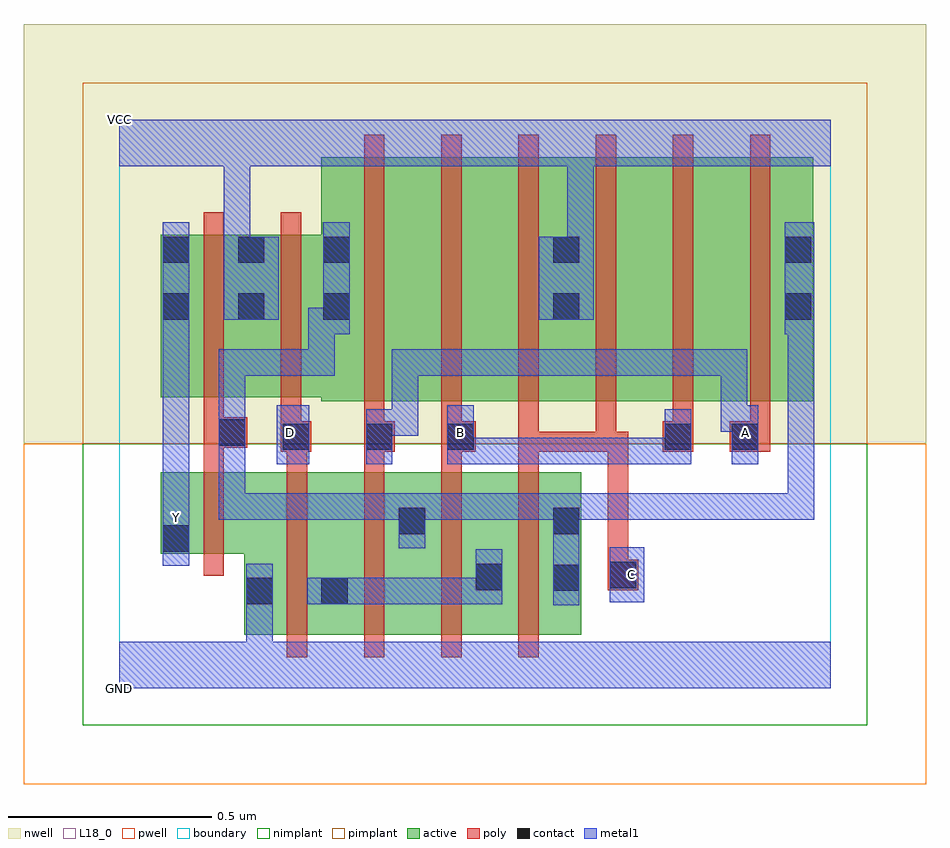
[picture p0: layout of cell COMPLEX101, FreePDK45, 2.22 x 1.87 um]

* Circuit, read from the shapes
.subckt COMPLEX101 A B C D GND VCC Y
M1 GND n1 Y VSUBS nfet w=0.2u l=0.05u
M2 n2 D GND VSUBS nfet w=0.4u l=0.05u
M3 n1 A n2 VSUBS nfet w=0.4u l=0.05u
M4 n2 B n1 VSUBS nfet w=0.4u l=0.05u
M5 n1 C n2 VSUBS nfet w=0.4u l=0.05u
M6 VCC n1 Y n3 pfet w=0.4u l=0.05u
M7 n1 D VCC n3 pfet w=0.4u l=0.05u
M8 n4 A n1 n3 pfet w=0.6u l=0.05u
M9 n5 B n4 n3 pfet w=0.6u l=0.05u
M10 VCC C n5 n3 pfet w=0.6u l=0.05u
M11 n6 C VCC n3 pfet w=0.6u l=0.05u
M12 n7 B n6 n3 pfet w=0.6u l=0.05u
M13 n1 A n7 n3 pfet w=0.6u l=0.05u
.ends

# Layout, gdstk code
import gdstk
lib = gdstk.Library(unit=1e-6, precision=1e-09)
def R(c, l, rs):  # rectangles x0, y0, x1, y1
    for r in rs: c.add(gdstk.rectangle(r[:2], r[2:], *l))
def A(c, l, x, y, w, h, nx, ny, dx, dy):  # array of equal rectangles
    R(c, l, [(x+i*dx, y+j*dy, x+i*dx+w, y+j*dy+h) for i in range(nx) for j in range(ny)])
active = (1, 0)
pwell = (2, 0)
nwell = (3, 0)
nimplant = (4, 0)
pimplant = (5, 0)
poly = (9, 0)
contact = (10, 0)
metal1 = (11, 0)
L18_0 = (18, 0)
boundary = (235, 0)

complex101 = lib.new_cell('COMPLEX101')
A(complex101, active, 0.492, 0.132, 0.265, 0.4, 3, 1, 0.19, 0)
A(complex101, active, 0.492, 0.147, 0.075, 0.345, 3, 1, 0.19, 0)
R(complex101, active, [(0.307,0.132,0.567,0.532), (0.307,0.132,0.382,0.332), (1.062,0.147,1.137,0.532), (0.102,0.332,0.177,0.532), (0.102,0.332,0.382,0.532), (0.497,0.707,0.722,1.307), (0.722,0.707,0.912,1.307), (0.912,0.707,1.137,1.307), (1.062,0.707,1.292,1.307), (1.062,0.707,1.137,1.257), (1.292,0.707,1.482,1.307), (1.482,0.707,1.707,1.307), (1.632,0.707,1.707,1.2), (0.102,0.717,0.362,1.117), (0.102,0.717,0.177,1.117), (0.287,0.717,0.572,1.117), (0.497,0.717,0.572,1.2), (0.287,0.802,0.362,1.117)])
R(complex101, pwell, [(-0.235,-0.235,1.985,0.602)])
R(complex101, nwell, [(-0.235,0.602,1.985,1.635)])
R(complex101, nimplant, [(-0.09,-0.09,1.84,0.602)])
R(complex101, pimplant, [(-0.09,0.602,1.84,1.49)])
A(complex101, poly, 0.412, 0.077, 0.05, 0.51, 4, 1, 0.19, 0)
A(complex101, poly, 0.412, 0.537, 0.05, 0.095, 4, 1, 0.19, 0)
A(complex101, poly, 0.602, 0.652, 0.05, 0.71, 6, 1, 0.19, 0)
R(complex101, poly, [(1.202,0.242,1.277,0.317), (1.202,0.267,1.252,0.632), (0.207,0.277,0.257,0.587), (0.207,0.537,0.257,0.642), (0.397,0.582,0.472,0.657), (0.602,0.582,0.677,0.657), (0.792,0.582,0.877,0.657), (0.982,0.582,1.032,0.702), (0.982,0.582,1.032,0.632), (0.982,0.582,1.222,0.632), (1.172,0.582,1.222,0.702), (1.172,0.582,1.222,0.632), (1.172,0.582,1.222,0.632), (1.172,0.582,1.242,0.632), (1.192,0.582,1.242,0.632), (1.192,0.582,1.252,0.632), (1.337,0.582,1.412,0.657), (1.502,0.582,1.602,0.657), (0.207,0.592,0.315,0.667), (0.397,0.607,0.447,0.712), (0.602,0.607,0.652,0.702), (0.792,0.607,0.842,0.702), (1.362,0.607,1.412,0.702), (1.552,0.607,1.602,0.702), (0.207,0.617,0.257,0.712), (0.207,0.662,0.257,1.172), (0.397,0.662,0.447,1.172)])
R(complex101, contact, [(0.312,0.207,0.377,0.272), (0.497,0.207,0.562,0.272), (1.067,0.24,1.132,0.305), (0.877,0.242,0.942,0.307), (1.207,0.247,1.272,0.312), (0.107,0.337,0.172,0.402), (0.687,0.38,0.752,0.445), (1.067,0.38,1.132,0.445), (0.402,0.587,0.467,0.652), (0.607,0.587,0.672,0.652), (0.807,0.587,0.872,0.652), (1.342,0.587,1.407,0.652), (1.507,0.587,1.572,0.652), (0.245,0.597,0.31,0.662), (0.107,0.907,0.172,0.972), (0.292,0.907,0.357,0.972), (0.502,0.907,0.567,0.972), (1.067,0.907,1.132,0.972), (1.637,0.907,1.702,0.972), (0.107,1.047,0.172,1.112), (0.292,1.047,0.357,1.112), (0.502,1.047,0.567,1.112), (1.067,1.047,1.132,1.112), (1.637,1.047,1.702,1.112)])
R(complex101, metal1, [(0,0,1.75,0.115), (0.312,0.05,0.377,0.237), (0.312,0.172,0.377,0.307), (1.067,0.205,1.132,0.48), (0.462,0.207,0.597,0.272), (0.532,0.207,0.672,0.272), (0.607,0.207,0.672,0.272), (0.607,0.207,0.752,0.272), (0.687,0.207,0.752,0.272), (0.687,0.207,0.872,0.272), (0.807,0.207,0.872,0.272), (0.807,0.207,0.942,0.272), (0.877,0.207,0.942,0.342), (1.207,0.212,1.292,0.347), (0.107,0.302,0.172,0.437), (0.687,0.345,0.752,0.48), (0.107,0.352,0.172,0.487), (0.107,0.372,0.172,0.437), (0.245,0.415,0.31,0.48), (0.245,0.415,0.535,0.48), (0.245,0.415,0.31,0.697), (0.47,0.415,0.535,0.48), (0.47,0.415,0.535,0.48), (0.47,0.415,0.535,0.48), (0.47,0.415,0.735,0.48), (0.67,0.415,0.735,0.48), (0.67,0.415,0.752,0.48), (0.687,0.415,0.89,0.48), (0.825,0.415,0.89,0.48), (0.825,0.415,0.89,0.48), (0.825,0.415,0.89,0.48), (0.825,0.415,1.027,0.48), (0.962,0.415,1.027,0.48), (0.962,0.415,1.132,0.48), (1.067,0.415,1.165,0.48), (1.1,0.415,1.165,0.48), (1.1,0.415,1.407,0.48), (1.342,0.415,1.407,0.48), (1.342,0.415,1.407,0.48), (1.342,0.415,1.407,0.48), (1.342,0.415,1.545,0.48), (1.48,0.415,1.545,0.48), (1.48,0.415,1.71,0.48), (1.645,0.415,1.71,0.48), (1.645,0.415,1.71,0.48), (1.645,0.415,1.71,0.48), (1.645,0.415,1.71,0.937), (0.107,0.422,0.172,0.937), (0.387,0.552,0.467,0.697), (0.607,0.552,0.672,0.687), (0.807,0.552,0.872,0.697), (0.807,0.552,0.89,0.617), (0.825,0.552,0.89,0.617), (0.825,0.552,1.027,0.617), (0.962,0.552,1.027,0.617), (0.962,0.552,1.27,0.617), (1.205,0.552,1.27,0.617), (1.205,0.552,1.27,0.617), (1.205,0.552,1.27,0.617), (1.205,0.552,1.407,0.617), (1.342,0.552,1.407,0.617), (1.342,0.552,1.407,0.617), (1.342,0.552,1.407,0.687), (1.507,0.552,1.572,0.697), (0.245,0.562,0.31,0.697), (0.607,0.622,0.735,0.687), (0.67,0.622,0.735,0.687), (0.67,0.622,0.735,0.835), (0.245,0.632,0.31,0.697), (0.245,0.632,0.31,0.697), (0.245,0.632,0.31,0.835), (1.48,0.632,1.545,0.697), (1.48,0.632,1.572,0.697), (1.48,0.632,1.545,0.835), (0.245,0.77,0.31,0.835), (0.245,0.77,0.53,0.835), (0.465,0.77,0.53,0.937), (0.67,0.77,0.735,0.835), (0.67,0.77,0.89,0.835), (0.825,0.77,0.89,0.835), (0.825,0.77,0.89,0.835), (0.825,0.77,0.89,0.835), (0.825,0.77,1.027,0.835), (0.962,0.77,1.027,0.835), (0.962,0.77,1.27,0.835), (1.205,0.77,1.27,0.835), (1.205,0.77,1.27,0.835), (1.205,0.77,1.27,0.835), (1.205,0.77,1.407,0.835), (1.342,0.77,1.407,0.835), (1.342,0.77,1.407,0.835), (1.342,0.77,1.407,0.835), (1.342,0.77,1.545,0.835), (1.48,0.77,1.545,0.835), (0.107,0.872,0.172,1.147), (0.465,0.872,0.567,0.937), (0.502,0.872,0.567,1.147), (1.637,0.872,1.71,1.147), (1.645,0.872,1.71,0.937), (1.645,0.872,1.71,0.937), (0.257,0.907,0.392,1.112), (1.032,0.907,1.167,1.112), (0.257,1.047,0.322,1.35), (1.102,1.047,1.167,1.35), (0,1.285,1.75,1.4), (0.257,1.285,0.322,1.35), (0.257,1.285,0.322,1.35)])
R(complex101, L18_0, [(0,0,1.75,0.115), (0.312,0.05,0.377,0.237), (0.312,0.172,0.377,0.307), (1.207,0.212,1.292,0.347), (1.227,0.247,1.292,0.312), (0.107,0.302,0.172,0.437), (0.107,0.352,0.172,0.487), (0.107,0.372,0.172,0.437), (0.107,0.387,0.172,0.452), (0.107,0.422,0.172,0.937), (0.387,0.552,0.467,0.697), (0.607,0.552,0.672,0.687), (0.807,0.552,0.872,0.697), (0.807,0.552,0.89,0.617), (0.825,0.552,0.89,0.617), (0.825,0.552,1.027,0.617), (0.962,0.552,1.027,0.617), (0.962,0.552,1.27,0.617), (1.205,0.552,1.27,0.617), (1.205,0.552,1.27,0.617), (1.205,0.552,1.27,0.617), (1.205,0.552,1.407,0.617), (1.342,0.552,1.407,0.687), (1.342,0.552,1.407,0.617), (1.342,0.552,1.407,0.617), (1.507,0.552,1.572,0.697), (0.387,0.597,0.452,0.662), (0.807,0.597,0.872,0.662), (1.507,0.597,1.572,0.662), (0.607,0.622,0.735,0.687), (0.67,0.622,0.735,0.687), (0.67,0.622,0.735,0.835), (1.48,0.632,1.545,0.697), (1.48,0.632,1.545,0.835), (1.48,0.632,1.572,0.697), (0.67,0.77,0.735,0.835), (0.67,0.77,0.89,0.835), (0.825,0.77,0.89,0.835), (0.825,0.77,0.89,0.835), (0.825,0.77,0.89,0.835), (0.825,0.77,1.027,0.835), (0.962,0.77,1.027,0.835), (0.962,0.77,1.27,0.835), (1.205,0.77,1.27,0.835), (1.205,0.77,1.27,0.835), (1.205,0.77,1.27,0.835), (1.205,0.77,1.407,0.835), (1.342,0.77,1.407,0.835), (1.342,0.77,1.407,0.835), (1.342,0.77,1.407,0.835), (1.342,0.77,1.545,0.835), (1.48,0.77,1.545,0.835), (0.107,0.872,0.172,1.147), (0.257,0.907,0.392,1.112), (1.032,0.907,1.167,1.112), (0.257,1.047,0.322,1.35), (1.102,1.047,1.167,1.35), (0,1.285,1.75,1.4), (0.257,1.285,0.322,1.35), (0.257,1.285,0.322,1.35)])
R(complex101, boundary, [(0,0,1.75,1.4)])
complex101.add(gdstk.Label('A', (1.54,0.63), layer=11, texttype=0))
complex101.add(gdstk.Label('B', (0.84,0.63), layer=11, texttype=0))
complex101.add(gdstk.Label('C', (1.26,0.28), layer=11, texttype=0))
complex101.add(gdstk.Label('D', (0.42,0.63), layer=11, texttype=0))
complex101.add(gdstk.Label('Y', (0.14,0.42), layer=11, texttype=0))
complex101.add(gdstk.Label('VCC', (0,1.4), layer=11, texttype=0))
complex101.add(gdstk.Label('GND', (0,0), layer=11, texttype=0))

lib.write_gds('COMPLEX101.gds')
